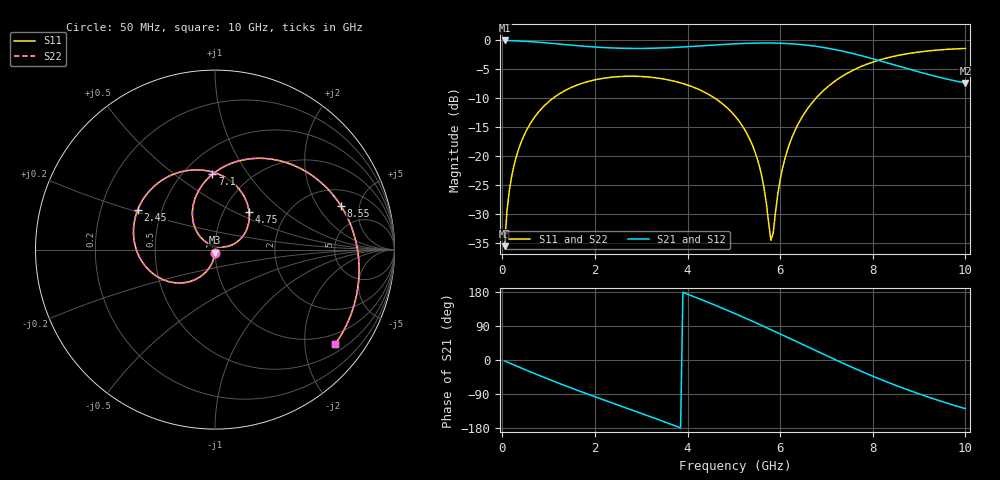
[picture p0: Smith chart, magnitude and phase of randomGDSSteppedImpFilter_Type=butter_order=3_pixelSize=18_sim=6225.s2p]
! freq	dB(S11)	phase(S11)	dB(S12)	phase(S12)
!  dB(S21)	phase(S21)	dB(S22)	phase(S22)
!S-par simulation data
#  GHz  S  DB  R 50
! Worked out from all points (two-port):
!   200 points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, 50 MHz to 10 GHz, reference 50 ohm
!   highest |S21| = 0.00 dB at 50 MHz (marker M1); lowest = -7.4 dB at 10 GHz (marker M2)
!   |S21| within 3 dB of the highest: start of sweep to 7.925 GHz
!   lowest |S11| = -35.6 dB at 50 MHz (marker M3), VSWR 1.03, Z = 49.9 - j1.65 ohm
!   |S11| at or under -10 dB: start of sweep to 1.096 GHz; 4.591 GHz to 6.773 GHz (2.183 GHz wide, 38.4 % of centre)
!   |S22| runs from -35.6 to -1.4 dB; largest |S21 - S12| = 0
!   S11 on the Smith chart (normalised r, x): 50 MHz: 1.00, -0.03; 2.45 GHz: 0.37, +0.21; 4.75 GHz: 1.31, +0.60; 7.1 GHz: 0.68, +0.70; 8.55 GHz: 3.00, +3.28; 10 GHz: 0.71, -2.72
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0.05  -35.61 -92.6  -0.00 -2.6  -0.00 -2.6  -35.61 -92.6
0.1  -29.60 -95.4  -0.01 -5.3  -0.01 -5.3  -29.60 -95.4
0.2  -23.62 -100.8  -0.04 -10.5  -0.04 -10.5  -23.62 -100.8
0.5  -15.93 -116.4  -0.15 -25.9  -0.15 -25.9  -15.93 -116.4
1.1  -9.97 -146.2  -0.53 -55.6  -0.53 -55.6  -9.97 -146.2
1.75  -7.35 -176.4  -0.99 -85.8  -0.99 -85.8  -7.35 -176.4
2.45  -6.30 152.6  -1.32 -116.7  -1.32 -116.7  -6.30 152.6
3.4  -6.57 111.0  -1.31 -158.6  -1.31 -158.6  -6.57 111.1
4.1  -8.00 79.1  -1.04 169.0  -1.04 169.0  -8.00 79.1
4.75  -10.93 48.1  -0.71 136.8  -0.71 136.8  -10.93 48.1
5.05  -13.32 33.7  -0.58 121.2  -0.58 121.2  -13.32 33.6
5.55  -21.72 14.6  -0.45 94.1  -0.45 94.1  -21.73 14.5
5.8  -34.60 65.2  -0.44 80.1  -0.44 80.1  -34.76 65.0
6  -24.11 139.9  -0.48 68.8  -0.48 68.8  -24.13 140.3
6.15  -19.15 138.9  -0.53 60.2  -0.53 60.2  -19.16 139.1
6.7  -10.68 113.4  -0.94 28.5  -0.94 28.5  -10.68 113.6
7.1  -7.55 92.0  -1.45 5.7  -1.45 5.7  -7.55 92.1
7.7  -4.68 60.3  -2.53 -27.2  -2.53 -27.2  -4.68 60.4
8.35  -2.94 28.4  -3.96 -60.0  -3.96 -60.0  -2.94 28.5
8.55  -2.59 19.3  -4.42 -69.5  -4.42 -69.5  -2.59 19.4
9.25  -1.77 -10.3  -5.99 -99.9  -5.99 -99.9  -1.77 -10.2
10  -1.39 -38.3  -7.37 -128.5  -7.37 -128.5  -1.39 -38.2
